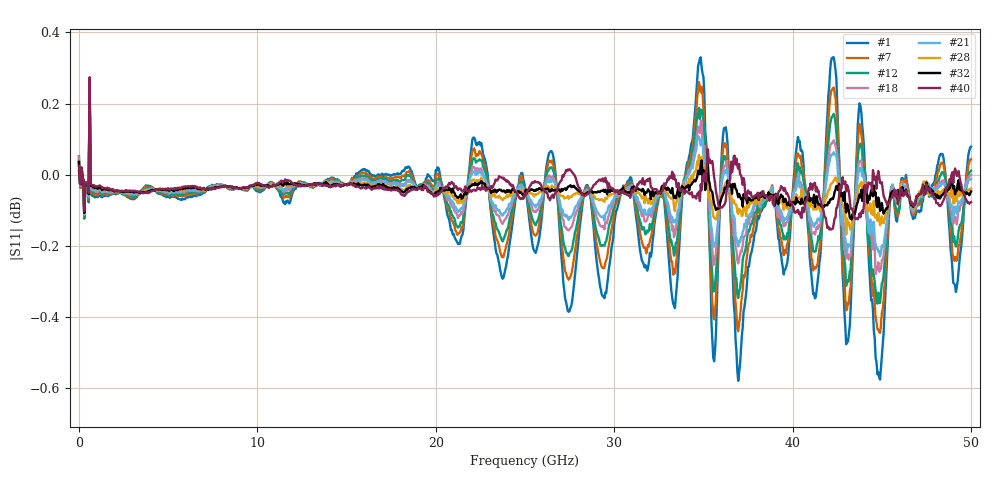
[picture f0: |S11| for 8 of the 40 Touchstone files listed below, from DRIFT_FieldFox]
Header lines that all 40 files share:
!Created with skrf (http://scikit-rf.org).
# Hz S RI R 50.0
!freq ReS11 ImS11
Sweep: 300 kHz to 50 GHz
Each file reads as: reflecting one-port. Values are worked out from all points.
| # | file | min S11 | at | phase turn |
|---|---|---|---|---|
| 1 | DRIFT1_t=274s.s1p | -0.6 dB | 36.95 GHz | -799 deg |
| 2 | DRIFT1_t=327s.s1p | -0.6 dB | 36.95 GHz | -799 deg |
| 3 | DRIFT1_t=380s.s1p | -0.5 dB | 44.75 GHz | -800 deg |
| 4 | DRIFT1_t=433s.s1p | -0.5 dB | 44.9 GHz | -800 deg |
| 5 | DRIFT1_t=486s.s1p | -0.5 dB | 44.9 GHz | -800 deg |
| 6 | DRIFT1_t=539s.s1p | -0.5 dB | 44.9 GHz | -800 deg |
| 7 | DRIFT1_t=592s.s1p | -0.4 dB | 44.9 GHz | -800 deg |
| 8 | DRIFT1_t=645s.s1p | -0.4 dB | 44.9 GHz | -801 deg |
| 9 | DRIFT1_t=697s.s1p | -0.4 dB | 44.65 GHz | -801 deg |
| 10 | DRIFT1_t=750s.s1p | -0.4 dB | 44.9 GHz | -801 deg |
| 11 | DRIFT1_t=803s.s1p | -0.4 dB | 44.9 GHz | -801 deg |
| 12 | DRIFT1_t=856s.s1p | -0.4 dB | 44.75 GHz | -802 deg |
| 13 | DRIFT1_t=909s.s1p | -0.4 dB | 44.75 GHz | -801 deg |
| 14 | DRIFT1_t=962s.s1p | -0.3 dB | 44.9 GHz | -802 deg |
| 15 | DRIFT1_t=1015s.s1p | -0.3 dB | 44.9 GHz | -802 deg |
| 16 | DRIFT1_t=1068s.s1p | -0.3 dB | 44.75 GHz | -802 deg |
| 17 | DRIFT1_t=1121s.s1p | -0.3 dB | 44.75 GHz | -802 deg |
| 18 | DRIFT1_t=1173s.s1p | -0.3 dB | 44.65 GHz | -803 deg |
| 19 | DRIFT1_t=1226s.s1p | -0.3 dB | 44.9 GHz | -803 deg |
| 20 | DRIFT1_t=1279s.s1p | -0.3 dB | 44.7 GHz | -803 deg |
| 21 | DRIFT1_t=1332s.s1p | -0.2 dB | 44.9 GHz | -803 deg |
| 22 | DRIFT1_t=1385s.s1p | -0.2 dB | 44.9 GHz | -803 deg |
| 23 | DRIFT1_t=1438s.s1p | -0.2 dB | 44.9 GHz | -804 deg |
| 24 | DRIFT1_t=1491s.s1p | -0.2 dB | 44.9 GHz | -804 deg |
| 25 | DRIFT1_t=1544s.s1p | -0.2 dB | 44.9 GHz | -804 deg |
| 26 | DRIFT1_t=1596s.s1p | -0.2 dB | 44.75 GHz | -804 deg |
| 27 | DRIFT1_t=1649s.s1p | -0.2 dB | 43.25 GHz | -804 deg |
| 28 | DRIFT1_t=1702s.s1p | -0.2 dB | 43 GHz | -805 deg |
| 29 | DRIFT1_t=1755s.s1p | -0.1 dB | 43.25 GHz | -805 deg |
| 30 | DRIFT1_t=1808s.s1p | -0.1 dB | 43 GHz | -805 deg |
| 31 | DRIFT1_t=1861s.s1p | -0.1 dB | 43.25 GHz | -805 deg |
| 32 | DRIFT1_t=1914s.s1p | -0.1 dB | 43.3 GHz | -805 deg |
| 33 | DRIFT1_t=1967s.s1p | -0.1 dB | 43.25 GHz | -806 deg |
| 34 | DRIFT1_t=2019s.s1p | -0.1 dB | 43.25 GHz | -806 deg |
| 35 | DRIFT1_t=2072s.s1p | -0.1 dB | 43.25 GHz | -806 deg |
| 36 | DRIFT1_t=2125s.s1p | -0.1 dB | 42.05 GHz | -806 deg |
| 37 | DRIFT1_t=2178s.s1p | -0.1 dB | 42.05 GHz | -806 deg |
| 38 | DRIFT1_t=2231s.s1p | -0.1 dB | 42.05 GHz | -807 deg |
| 39 | DRIFT1_t=2284s.s1p | -0.1 dB | 42.05 GHz | -807 deg |
| 40 | DRIFT1_t=2337s.s1p | -0.2 dB | 42.15 GHz | -807 deg |
